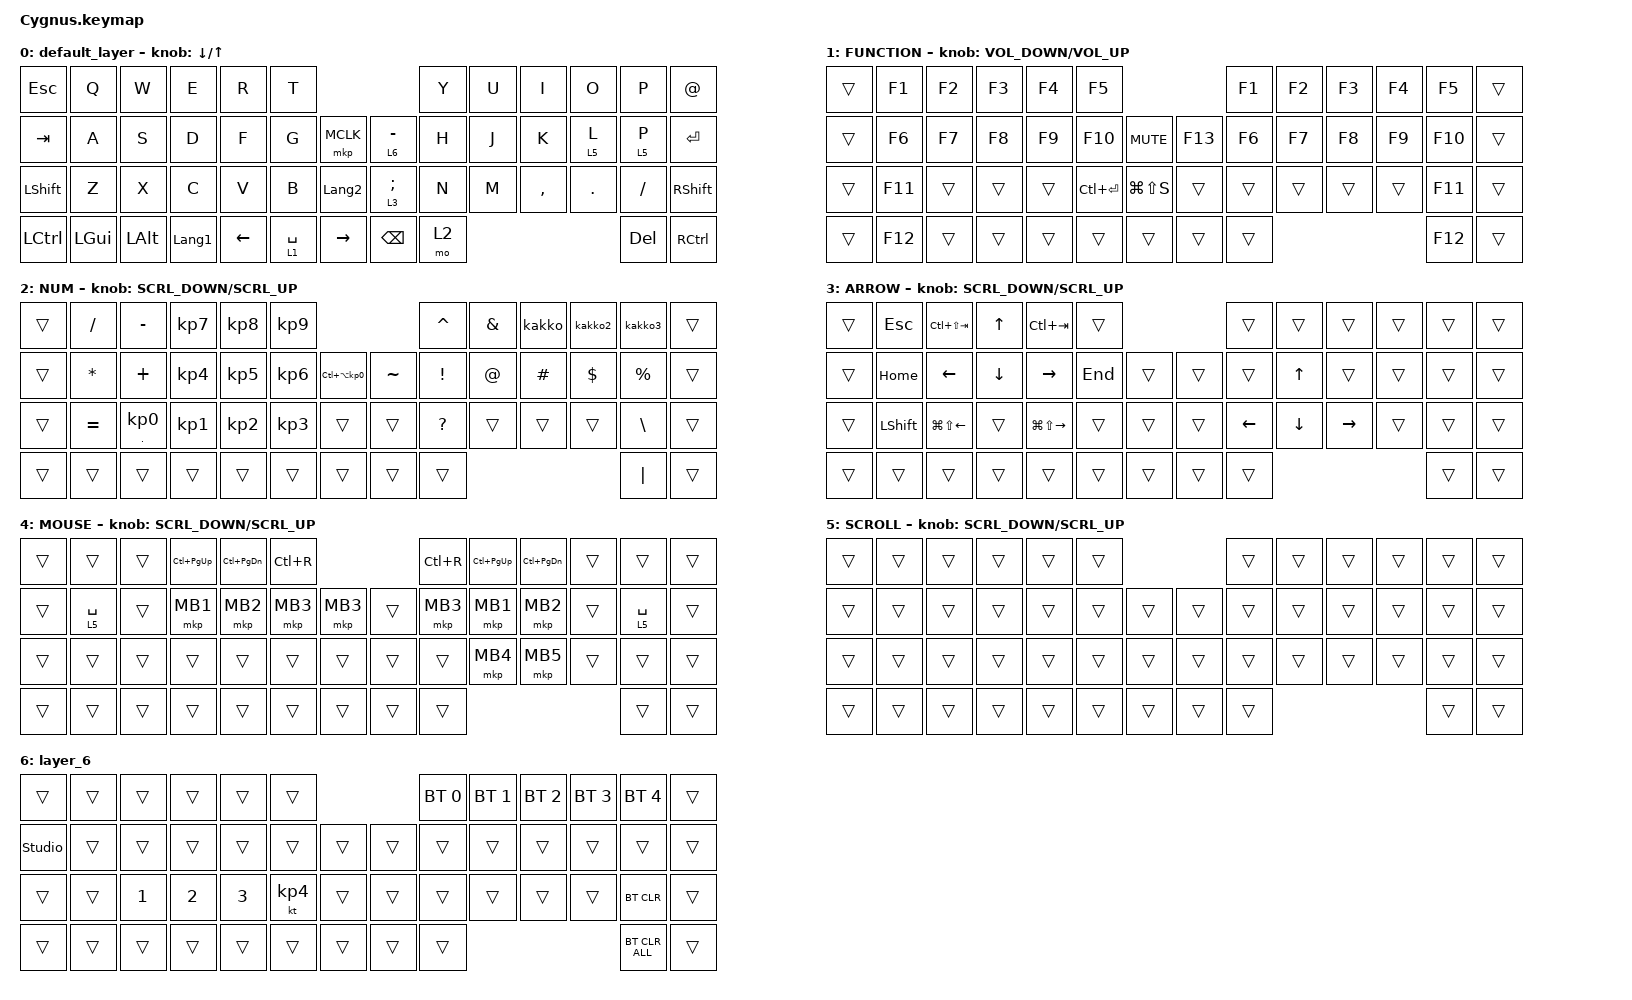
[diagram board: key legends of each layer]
#define ZMK_POINTING_DEFAULT_SCRL_VAL 120    // default: 10

#include <input/processors.dtsi>
#include <input/processors/runtime-input-processor.dtsi>
#include <behaviors/battery_history_request.dtsi>
#include <behaviors.dtsi>
#include <dt-bindings/zmk/bt.h>
#include <dt-bindings/zmk/keys.h>
#include <dt-bindings/zmk/pointing.h>

#define MOUSE 4
#define SCROLL 5
#define NUM 6

&mt {
    flavor = "balanced";
    quick-tap-ms = <0>;
};

/ {
    combos {
        compatible = "zmk,combos";

        double_quotation {
            bindings = <&kp DOUBLE_QUOTES>;
            key-positions = <19 21>;
        };

        rrr {
            bindings = <&mkp LCLK>;
            key-positions = <21 22>;
        };

        lll {
            bindings = <&mkp RCLK>;
            key-positions = <22 23>;
        };

        mmm {
            bindings = <&mkp MCLK>;
            key-positions = <21 8>;
        };

        esc {
            bindings = <&tog 2>;
            key-positions = <0 2>;
        };
    };

    macros {
        kakko: kakko {
            compatible = "zmk,behavior-macro";
            #binding-cells = <0>;
            bindings = <&kp LPAR &kp RPAR>;
            label = "KAKKO";
        };

        kakko2: kakko2 {
            compatible = "zmk,behavior-macro";
            #binding-cells = <0>;
            bindings = <&kp LBKT &kp RBKT>;
            label = "KAKKO2";
        };

        kakko3: kakko3 {
            compatible = "zmk,behavior-macro";
            #binding-cells = <0>;
            bindings = <&kp LBRC &kp RBRC>;
            label = "KAKKO3";
        };
    };

    behaviors {
        lt_to_layer_0: lt_to_layer_0 {
            compatible = "zmk,behavior-hold-tap";
            label = "LAYER_TAP_TO_0";
            bindings = <&mo>, <&to>;

            #binding-cells = <2>;
            tapping-term-ms = <200>;
        };

        ROTATE: ROTATE {
            compatible = "zmk,behavior-sensor-rotate-var";
            label = "ROTATE";
            #sensor-binding-cells = <2>;
            bindings = <&msc>, <&msc>;

            tap-ms = <20>;
        };
    };

    keymap {
        compatible = "zmk,keymap";

        default_layer {
            bindings = <
&kp ESCAPE  &kp Q     &kp W     &kp E           &kp R           &kp T                                            &kp Y  &kp U  &kp I      &kp O    &kp P     &kp AT
&kp TAB     &kp A     &kp S     &kp D           &kp F           &kp G        &mkp MCLK          &lt 6 MINUS      &kp H  &kp J  &kp K      &lt 5 L  &lt 5 P   &kp ENTER
&kp LSHFT   &kp Z     &kp X     &kp C           &kp V           &kp B        &kp LANGUAGE_2     &lt 3 SEMICOLON  &kp N  &kp M  &kp COMMA  &kp DOT  &kp FSLH  &kp RSHFT
&kp LCTRL   &kp LGUI  &kp LALT  &kp LANGUAGE_1  &kp LEFT_ARROW  &lt 1 SPACE  &kp RIGHT_ARROW    &kp BACKSPACE    &mo 2                             &kp DEL   &kp RCTRL
            >;

            sensor-bindings = <&inc_dec_kp DOWN UP>;
        };

        FUNCTION {
            bindings = <
&trans  &kp F1   &kp F2  &kp F3  &kp F4  &kp F5                                   &kp F1  &kp F2  &kp F3  &kp F4  &kp F5   &trans
&trans  &kp F6   &kp F7  &kp F8  &kp F9  &kp F10        &kp K_MUTE       &kp F13  &kp F6  &kp F7  &kp F8  &kp F9  &kp F10  &trans
&trans  &kp F11  &trans  &trans  &trans  &kp LC(ENTER)  &kp LG(LS(S))    &trans   &trans  &trans  &trans  &trans  &kp F11  &trans
&trans  &kp F12  &trans  &trans  &trans  &trans         &trans           &trans   &trans                          &kp F12  &trans
            >;

            sensor-bindings = <&inc_dec_kp C_VOLUME_DOWN C_VOLUME_UP>;
        };

        NUM {
            bindings = <
&trans  &kp SLASH     &kp MINUS            &kp KP_NUMBER_7  &kp KP_NUMBER_8  &kp KP_NUMBER_9                                        &kp CARET        &kp AMPERSAND  &kakko    &kakko2     &kakko3        &trans
&trans  &kp ASTERISK  &kp PLUS             &kp KP_NUMBER_4  &kp KP_NUMBER_5  &kp KP_NUMBER_6  &kp LC(LA(KP_NUMBER_0))    &kp TILDE  &kp EXCLAMATION  &kp AT_SIGN    &kp HASH  &kp DOLLAR  &kp PERCENT    &trans
&trans  &kp EQUAL     &mt DOT KP_NUMBER_0  &kp KP_NUMBER_1  &kp KP_NUMBER_2  &kp KP_NUMBER_3  &trans                     &trans     &kp QUESTION     &trans         &trans    &trans      &kp BACKSLASH  &trans
&trans  &trans        &trans               &trans           &trans           &trans           &trans                     &trans     &trans                                                &kp PIPE       &trans
            >;

            sensor-bindings = <&ROTATE SCRL_DOWN SCRL_UP>;
        };

        ARROW {
            bindings = <
&trans  &kp ESCAPE      &kp LC(LS(TAB))         &kp UP_ARROW    &kp LC(TAB)              &trans                     &trans    &trans        &trans     &trans  &trans  &trans
&trans  &kp HOME        &kp LEFT_ARROW          &kp DOWN_ARROW  &kp RIGHT_ARROW          &kp END  &trans    &trans  &trans    &kp UP_ARROW  &trans     &trans  &trans  &trans
&trans  &kp LEFT_SHIFT  &kp LG(LS(LEFT_ARROW))  &trans          &kp LG(LS(RIGHT_ARROW))  &trans   &trans    &trans  &kp LEFT  &kp DOWN      &kp RIGHT  &trans  &trans  &trans
&trans  &trans          &trans                  &trans          &trans                   &trans   &trans    &trans  &trans                                     &trans  &trans
            >;

            sensor-bindings = <&ROTATE SCRL_DOWN SCRL_UP>;
        };

        MOUSE {
            bindings = <
&trans  &trans       &trans  &kp LC(PAGE_UP)  &kp LC(PAGE_DOWN)  &kp LC(R)                      &kp LC(R)  &kp LC(PAGE_UP)  &kp LC(PAGE_DOWN)  &trans  &trans       &trans
&trans  &lt 5 SPACE  &trans  &mkp MB1         &mkp MB2           &mkp MB3   &mkp MB3    &trans  &mkp MB3   &mkp MB1         &mkp MB2           &trans  &lt 5 SPACE  &trans
&trans  &trans       &trans  &trans           &trans             &trans     &trans      &trans  &trans     &mkp MB4         &mkp MB5           &trans  &trans       &trans
&trans  &trans       &trans  &trans           &trans             &trans     &trans      &trans  &trans                                                 &trans       &trans
            >;

            sensor-bindings = <&ROTATE SCRL_DOWN SCRL_UP>;
        };

        SCROLL {
            bindings = <
&trans  &trans  &trans  &trans  &trans  &trans                    &trans  &trans  &trans  &trans  &trans  &trans
&trans  &trans  &trans  &trans  &trans  &trans  &trans    &trans  &trans  &trans  &trans  &trans  &trans  &trans
&trans  &trans  &trans  &trans  &trans  &trans  &trans    &trans  &trans  &trans  &trans  &trans  &trans  &trans
&trans  &trans  &trans  &trans  &trans  &trans  &trans    &trans  &trans                          &trans  &trans
            >;

            sensor-bindings = <&ROTATE SCRL_DOWN SCRL_UP>;
        };

        layer_6 {
            bindings = <
&trans          &trans  &trans        &trans        &trans        &trans                       &bt BT_SEL 0  &bt BT_SEL 1  &bt BT_SEL 2  &bt BT_SEL 3  &bt BT_SEL 4    &trans
&studio_unlock  &trans  &trans        &trans        &trans        &trans     &trans    &trans  &trans        &trans        &trans        &trans        &trans          &trans
&trans          &trans  &kp NUMBER_1  &kp NUMBER_2  &kp NUMBER_3  &kt KP_N4  &trans    &trans  &trans        &trans        &trans        &trans        &bt BT_CLR      &trans
&trans          &trans  &trans        &trans        &trans        &trans     &trans    &trans  &trans                                                  &bt BT_CLR_ALL  &trans
            >;
        };
    };
};
